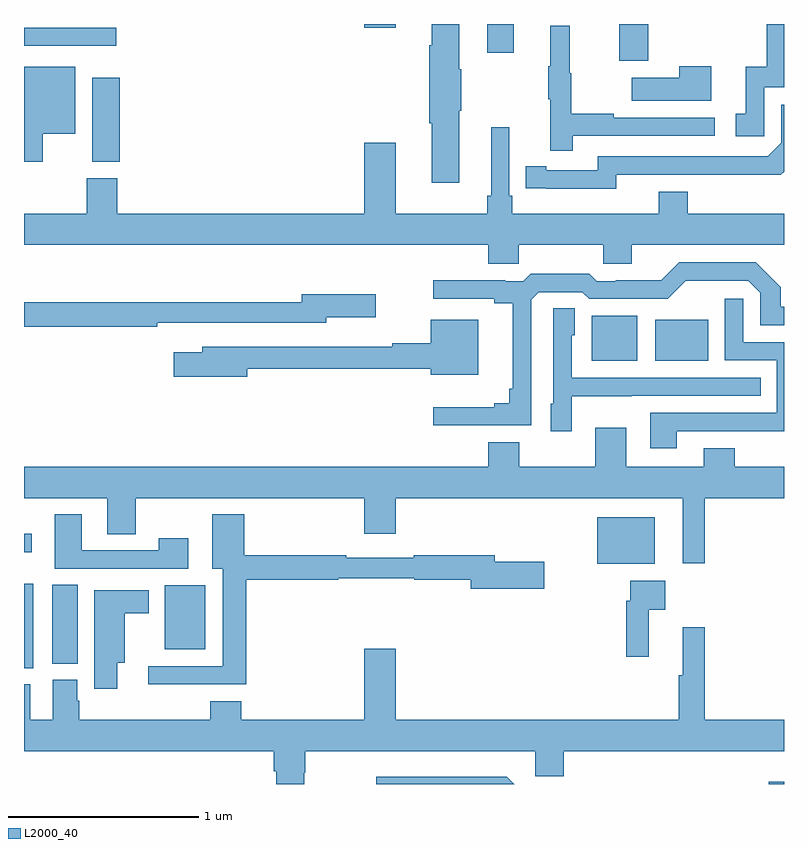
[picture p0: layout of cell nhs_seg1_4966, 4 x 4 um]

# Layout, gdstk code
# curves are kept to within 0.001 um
import gdstk
lib = gdstk.Library(unit=1e-6, precision=1e-09)
def R(c, l, rs):  # rectangles x0, y0, x1, y1
    for r in rs: c.add(gdstk.rectangle(r[:2], r[2:], *l))
def P(c, l, *ps):  # polygons
    for p in ps: c.add(gdstk.Polygon(p, *l))
L2000_40 = (2000, 40)

nhs_seg1_4966 = lib.new_cell('nhs_seg1_4966')
R(nhs_seg1_4966, L2000_40, [(382.92,578.199,383,578.212), (379,578.809,379.048,579.253), (379.148,578.833,379.282,579.248), (379.742,578.909,379.954,579.244), (382.016,579.359,382.321,579.604), (379,579.42,379.042,579.516), (381.989,580.427,382.228,580.663), (382.322,580.427,382.6,580.642), (379.358,581.473,379.505,581.917), (382.133,582.006,382.286,582.199), (381.437,582.048,381.577,582.199), (379,582.084,379.486,582.18), (380.792,582.18,380.956,582.199)])
P(nhs_seg1_4966, L2000_40, [(381.292,581.743),(381.3,581.743),(381.3,581.96),(381.292,581.96),(381.292,582.199),(381.146,582.199),(381.146,582.086),(381.134,582.086),(381.134,581.676),(381.146,581.676),(381.146,581.364),(381.292,581.364)],
  [(382.896,581.865),(383,581.865),(383,582.199),(382.909,582.199),(382.909,581.974),(382.799,581.974),(382.799,581.727),(382.746,581.727),(382.746,581.607),(382.896,581.607)],
  [(381.887,581.61),(382.636,581.61),(382.636,581.706),(382.103,581.706),(382.103,581.726),(381.88,581.726),(381.88,581.94),(381.872,581.94),(381.872,582.19),(381.77,582.19),(381.77,581.977),(381.759,581.977),(381.759,581.803),(381.77,581.803),(381.77,581.532),(381.887,581.532)],
  [(382.618,581.977),(382.448,581.977),(382.448,581.917),(382.199,581.917),(382.199,581.795),(382.618,581.795)],
  [(379.099,581.621),(379.27,581.621),(379.27,581.974),(379,581.974),(379,581.475),(379.099,581.475)],
  [(382.116,581.406),(382.984,581.405),(383,581.421),(383,581.775),(382.986,581.775),(382.986,581.574),(382.914,581.502),(382.02,581.502),(382.02,581.43),(381.748,581.43),(381.748,581.45),(381.64,581.45),(381.64,581.334),(382.116,581.333)],
  [(381.569,581.296),(381.555,581.296),(381.555,581.656),(381.458,581.656),(381.458,581.296),(381.439,581.296),(381.439,581.2),(380.956,581.2),(380.956,581.575),(380.792,581.575),(380.792,581.2),(379.49,581.2),(379.49,581.388),(379.33,581.388),(379.33,581.2),(379,581.2),(379,581.036),(381.443,581.036),(381.443,580.938),(381.603,580.938),(381.603,581.036),(382.048,581.036),(382.048,580.938),(382.198,580.938),(382.198,581.036),(383,581.036),(383,581.2),(382.493,581.2),(382.493,581.317),(382.34,581.317),(382.34,581.2),(381.569,581.2)],
  [(381.669,580.749),(381.708,580.788),(381.939,580.788),(381.975,580.752),(382.389,580.752),(382.484,580.847),(382.812,580.848),(382.875,580.785),(382.875,580.614),(383,580.614),(383,580.711),(382.983,580.711),(382.983,580.814),(382.852,580.944),(382.449,580.944),(382.355,580.85),(382.114,580.85),(382.114,580.845),(382.014,580.845),(381.975,580.885),(381.667,580.885),(381.627,580.845),(381.533,580.845),(381.533,580.85),(381.153,580.85),(381.153,580.752),(381.476,580.752),(381.476,580.73),(381.572,580.73),(381.572,580.279),(381.553,580.279),(381.553,580.202),(381.476,580.202),(381.476,580.183),(381.153,580.183),(381.153,580.086),(381.669,580.086)],
  [(379.7,580.626),(380.59,580.626),(380.59,580.655),(380.851,580.655),(380.851,580.777),(380.462,580.777),(380.462,580.735),(379,580.735),(379,580.606),(379.7,580.606)],
  [(382.435,580.056),(382.865,580.056),(382.865,580.055),(383,580.055),(383,580.524),(382.785,580.524),(382.785,580.753),(382.689,580.753),(382.689,580.428),(382.962,580.428),(382.962,580.152),(382.295,580.152),(382.295,579.966),(382.435,579.966)],
  [(381.882,580.241),(382.199,580.241),(382.199,580.242),(382.877,580.242),(382.877,580.338),(381.882,580.338),(381.882,580.56),(381.898,580.56),(381.898,580.703),(381.786,580.703),(381.786,580.2),(381.773,580.2),(381.773,580.056),(381.882,580.056)],
  [(380.176,580.384),(381.14,580.384),(381.14,580.352),(381.391,580.352),(381.391,580.642),(381.14,580.642),(381.14,580.52),(380.938,580.52),(380.938,580.501),(380.686,580.501),(380.686,580.5),(379.937,580.5),(379.937,580.471),(379.788,580.471),(379.788,580.342),(380.176,580.342)],
  [(382.583,579.704),(383,579.704),(383,579.868),(382.741,579.868),(382.741,579.967),(382.577,579.967),(382.577,579.868),(382.171,579.868),(382.171,580.075),(382.007,580.075),(382.007,579.868),(381.607,579.868),(381.607,579.997),(381.443,579.997),(381.443,579.868),(379,579.868),(379,579.704),(379.439,579.704),(379.439,579.514),(379.587,579.514),(379.587,579.704),(380.792,579.704),(380.792,579.516),(380.956,579.516),(380.956,579.704),(382.466,579.704),(382.466,579.36),(382.583,579.36)],
  [(380.171,579.274),(380.654,579.274),(380.654,579.282),(381.054,579.282),(381.054,579.274),(381.35,579.274),(381.35,579.227),(381.739,579.227),(381.739,579.369),(381.478,579.369),(381.478,579.403),(381.052,579.403),(381.052,579.39),(380.696,579.39),(380.696,579.403),(380.158,579.403),(380.158,579.619),(379.991,579.619),(379.991,579.332),(380.045,579.332),(380.045,578.82),(379.653,578.82),(379.653,578.723),(380.171,578.723)],
  [(379.864,579.493),(379.708,579.493),(379.708,579.429),(379.303,579.429),(379.303,579.619),(379.163,579.619),(379.163,579.333),(379.864,579.333)],
  [(382.289,579.116),(382.375,579.116),(382.375,579.268),(382.191,579.268),(382.191,579.164),(382.171,579.164),(382.171,578.868),(382.289,578.868)],
  [(379.492,578.837),(379.531,578.837),(379.531,579.098),(379.657,579.098),(379.657,579.22),(379.37,579.22),(379.37,578.7),(379.492,578.7)],
  [(380.475,578.259),(380.48,578.259),(380.48,578.372),(381.69,578.372),(381.69,578.241),(381.842,578.241),(381.842,578.372),(383,578.372),(383,578.536),(382.583,578.536),(382.583,579.025),(382.466,579.025),(382.466,578.772),(382.447,578.772),(382.447,578.536),(380.956,578.536),(380.956,578.911),(380.792,578.911),(380.792,578.536),(380.144,578.536),(380.144,578.635),(379.979,578.635),(379.979,578.536),(379.292,578.536),(379.292,578.637),(379.279,578.637),(379.279,578.748),(379.151,578.748),(379.151,578.536),(379.033,578.536),(379.033,578.724),(379,578.724),(379,578.372),(380.315,578.372),(380.315,578.266),(380.327,578.266),(380.327,578.199),(380.475,578.199)],
  [(381.542,578.236),(380.853,578.236),(380.853,578.199),(381.579,578.199)])

lib.write_gds('nhs_seg1_4966.gds')
